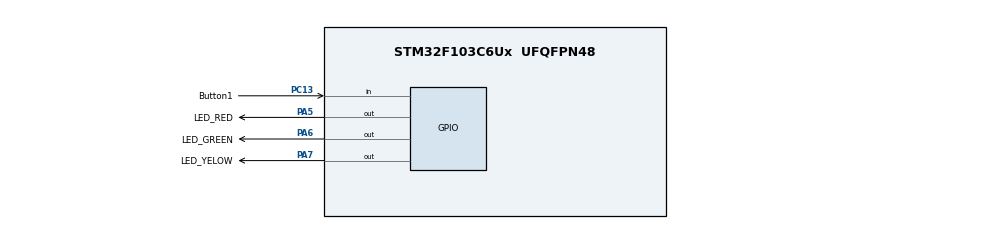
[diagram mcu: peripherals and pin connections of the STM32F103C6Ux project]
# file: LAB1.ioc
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Mcu.Family=STM32F1
Mcu.Name=STM32F103C6Ux
Mcu.Package=UFQFPN48
NVIC.PriorityGroup=NVIC_PRIORITYGROUP_4
NVIC.TIM2_IRQn=true\:0\:0\:false\:false\:true\:true\:true
PA5.GPIO_Label=LED_RED
PA5.Signal=GPIO_Output
PA6.GPIO_Label=LED_GREEN
PA6.Signal=GPIO_Output
PA7.GPIO_Label=LED_YELOW
PA7.Signal=GPIO_Output
PC13-TAMPER-RTC.GPIO_Label=Button1
PC13-TAMPER-RTC.GPIO_PuPd=GPIO_PULLUP
PC13-TAMPER-RTC.Signal=GPIO_Input
ProjectManager.HeapSize=0x200
ProjectManager.StackSize=0x400
ProjectManager.TargetToolchain=STM32CubeIDE
RCC.APB1Freq_Value=8000000
RCC.APB2Freq_Value=8000000
TIM2.ClockDivision=TIM_CLOCKDIVISION_DIV1
TIM2.Period=9
TIM2.Prescaler=7999
VP_SYS_VS_ND.Mode=No_Debug
VP_TIM2_VS_ClockSourceINT.Mode=Internal
board=custom

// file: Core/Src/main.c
/* USER CODE BEGIN Header */
/**
  ******************************************************************************
  * @file           : main.c
  * @brief          : Main program body
  ******************************************************************************
  * @attention
  *
  * <h2><center>&copy; Copyright (c) 2024 STMicroelectronics.
  * All rights reserved.</center></h2>
  *
  * This software component is licensed by ST under BSD 3-Clause license,
  * the "License"; You may not use this file except in compliance with the
  * License. You may obtain a copy of the License at:
  *                        opensource.org/licenses/BSD-3-Clause
  *
  ******************************************************************************
  */
/* USER CODE END Header */
#include "main.h"

/* USER CODE BEGIN Includes */
#include <stdbool.h>

#include "sofware_Timer.h"
#include "button.h"
#include "trafic.h"
#include "global.h"
#include "fsm_auto.h"
#include "fsm_man.h"

/* USER CODE END Includes */

TIM_HandleTypeDef htim2;

void SystemClock_Config(void);
static void MX_GPIO_Init(void);
static void MX_TIM2_Init(void);

int main(void)
{
  /* USER CODE BEGIN 1 */

//	bool a = false;
//	int status = 1;

	// TODO TEST1
	// UPDATE TEST1
  /* USER CODE END 1 */

  /* MCU Configuration--------------------------------------------------------*/

  /* Reset of all peripherals, Initializes the Flash interface and the Systick. */
  HAL_Init();

  /* Configure the system clock */
  SystemClock_Config();

  /* Initialize all configured peripherals */
  MX_GPIO_Init();
  MX_TIM2_Init();
  /* USER CODE BEGIN 2 */

  HAL_TIM_Base_Start_IT(&htim2);

  /* USER CODE END 2 */

  /* Infinite loop */
  /* USER CODE BEGIN WHILE */
//  setTimer1(100);
//  setTimer1(2000);
  status = INIT;
  while (1)
  {
	  fsm_autorun();
	  fsm_man_run();
//	  if(isButton1Press()== 1){
//		  //TODO
//		  HAL_GPIO_TogglePin(LED_RED_GPIO_Port, LED_RED_Pin);
//	  }

    /* USER CODE END WHILE */

  }
}

void SystemClock_Config(void)
{
  RCC_OscInitTypeDef RCC_OscInitStruct = {0};
  RCC_ClkInitTypeDef RCC_ClkInitStruct = {0};

  /** Initializes the RCC Oscillators according to the specified parameters
  * in the RCC_OscInitTypeDef structure.
  */
  RCC_OscInitStruct.OscillatorType = RCC_OSCILLATORTYPE_HSI;
  RCC_OscInitStruct.HSIState = RCC_HSI_ON;
  RCC_OscInitStruct.HSICalibrationValue = RCC_HSICALIBRATION_DEFAULT;
  RCC_OscInitStruct.PLL.PLLState = RCC_PLL_NONE;
  if (HAL_RCC_OscConfig(&RCC_OscInitStruct) != HAL_OK)
  {
    Error_Handler();
  }
  /** Initializes the CPU, AHB and APB buses clocks
  */
  RCC_ClkInitStruct.ClockType = RCC_CLOCKTYPE_HCLK|RCC_CLOCKTYPE_SYSCLK
                              |RCC_CLOCKTYPE_PCLK1|RCC_CLOCKTYPE_PCLK2;
  RCC_ClkInitStruct.SYSCLKSource = RCC_SYSCLKSOURCE_HSI;
  RCC_ClkInitStruct.AHBCLKDivider = RCC_SYSCLK_DIV1;
  RCC_ClkInitStruct.APB1CLKDivider = RCC_HCLK_DIV1;
  RCC_ClkInitStruct.APB2CLKDivider = RCC_HCLK_DIV1;

  if (HAL_RCC_ClockConfig(&RCC_ClkInitStruct, FLASH_LATENCY_0) != HAL_OK)
  {
    Error_Handler();
  }
}

static void MX_TIM2_Init(void)
{

  TIM_ClockConfigTypeDef sClockSourceConfig = {0};
  TIM_MasterConfigTypeDef sMasterConfig = {0};

  htim2.Instance = TIM2;
  htim2.Init.Prescaler = 7999;
  htim2.Init.CounterMode = TIM_COUNTERMODE_UP;
  htim2.Init.Period = 9;
  htim2.Init.ClockDivision = TIM_CLOCKDIVISION_DIV1;
  htim2.Init.AutoReloadPreload = TIM_AUTORELOAD_PRELOAD_DISABLE;
  if (HAL_TIM_Base_Init(&htim2) != HAL_OK)
  {
    Error_Handler();
  }
  sClockSourceConfig.ClockSource = TIM_CLOCKSOURCE_INTERNAL;
  if (HAL_TIM_ConfigClockSource(&htim2, &sClockSourceConfig) != HAL_OK)
  {
    Error_Handler();
  }
  sMasterConfig.MasterOutputTrigger = TIM_TRGO_RESET;
  sMasterConfig.MasterSlaveMode = TIM_MASTERSLAVEMODE_DISABLE;
  if (HAL_TIMEx_MasterConfigSynchronization(&htim2, &sMasterConfig) != HAL_OK)
  {
    Error_Handler();
  }

}

static void MX_GPIO_Init(void)
{
  GPIO_InitTypeDef GPIO_InitStruct = {0};

  /* GPIO Ports Clock Enable */
  __HAL_RCC_GPIOC_CLK_ENABLE();
  __HAL_RCC_GPIOA_CLK_ENABLE();

  /*Configure GPIO pin Output Level */
  HAL_GPIO_WritePin(GPIOA, LED_RED_Pin|LED_GREEN_Pin|LED_YELOW_Pin, GPIO_PIN_RESET);

  /*Configure GPIO pin : Button1_Pin */
  GPIO_InitStruct.Pin = Button1_Pin;
  GPIO_InitStruct.Mode = GPIO_MODE_INPUT;
  GPIO_InitStruct.Pull = GPIO_PULLUP;
  HAL_GPIO_Init(Button1_GPIO_Port, &GPIO_InitStruct);

  /*Configure GPIO pins : LED_RED_Pin LED_GREEN_Pin LED_YELOW_Pin */
  GPIO_InitStruct.Pin = LED_RED_Pin|LED_GREEN_Pin|LED_YELOW_Pin;
  GPIO_InitStruct.Mode = GPIO_MODE_OUTPUT_PP;
  GPIO_InitStruct.Pull = GPIO_NOPULL;
  GPIO_InitStruct.Speed = GPIO_SPEED_FREQ_LOW;
  HAL_GPIO_Init(GPIOA, &GPIO_InitStruct);

}

/* USER CODE BEGIN 4 */
int counter = 100;
void HAL_TIM_PeriodElapsedCallback(TIM_HandleTypeDef *htim){
	timerRun();
	getKeyInput();
}
/* USER CODE END 4 */

void Error_Handler(void)
{
  __disable_irq();
  while (1)
  {
  }
}

/************************ (C) COPYRIGHT STMicroelectronics *****END OF FILE****/
